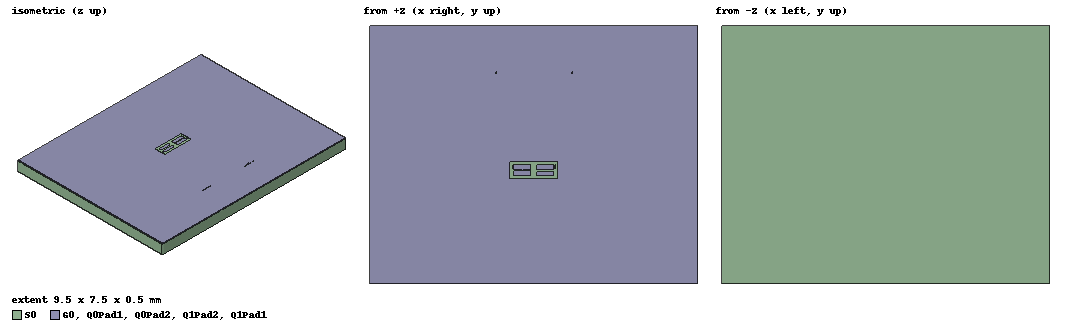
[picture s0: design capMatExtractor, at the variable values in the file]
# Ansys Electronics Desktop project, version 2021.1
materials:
  vacuum: permittivity=1
  copper: permeability=0.999991 conductivity=58000000
  silicon: permittivity=11.9
  perfect conductor: conductivity=1e+30

design capMatExtractor (Q3D Extractor, model units mm)
options: SParamCalcMethod=EqTransLine Calculate_Lossy_Dielectrics
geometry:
  S0 [silicon] = polyline(z=0um, xy in um: (-4750, -3750) (-4750, 3750) (4750, 3750) (4750, -3750) (-4750, -3750), closed, covered)
  S0.sweep_along_vector((0mm, 0mm, 500um))
  G0 [perfect conductor] = polyline(z=500um, xy in um: (-4750, -3750) (-4750, 3750) (4750, 3750) (4750, -3750) (-4750, -3750), closed, covered)
  Q0Pad1 [perfect conductor] = polyline(z=500um, xy in um: (-581, -439) (-581, -299) (-81, -299) (-81, -439) (-329, -439) (-329, -450) (-333, -450) (-333, -439) (-581, -439), closed, covered)
  Q0Pad1TrenchComponent = polyline(z=499.9um, xy in um: (-581, -439) (-581, -299) (-81, -299) (-81, -439) (-329, -439) (-329, -450) (-333, -450) (-333, -439) (-581, -439), closed, covered)
  Q0Pad1TrenchPeriphery0 = polyline(z=499.9um, xy in um: (-681, -539) (-681, -199) (19, -199) (19, -539) (-681, -539), closed, covered)
  Q0Pad1TrenchPeriphery1 = polyline(z=499.9um, xy in um: (-363, -454) (-363, -439) (-299, -439) (-299, -454) (-363, -454), closed, covered)
  Q0Pad1TrenchPeriphery0.sweep_along_vector((0mm, 0mm, 0.1um))
  S0.subtract(Q0Pad1TrenchPeriphery0)
  Q0Pad1TrenchPeriphery1.sweep_along_vector((0mm, 0mm, 0.1um))
  S0.subtract(Q0Pad1TrenchPeriphery1)
  Q0Pad1periphery0 = polyline(z=500um, xy in um: (-681, -539) (-681, -199) (19, -199) (19, -539) (-681, -539), closed, covered)
  G0.subtract(Q0Pad1periphery0)
  Q0Pad1periphery1 = polyline(z=500um, xy in um: (-363, -454) (-363, -439) (-299, -439) (-299, -454) (-363, -454), closed, covered)
  G0.subtract(Q0Pad1periphery1)
  Q0Pad2 [perfect conductor] = polyline(z=500um, xy in um: (-81, -469) (-81, -609) (-581, -609) (-581, -469) (-333, -469) (-333, -458) (-329, -458) (-329, -469) (-81, -469), closed, covered)
  Q0Pad2TrenchComponent = polyline(z=499.9um, xy in um: (-81, -469) (-81, -609) (-581, -609) (-581, -469) (-333, -469) (-333, -458) (-329, -458) (-329, -469) (-81, -469), closed, covered)
  Q0Pad2TrenchPeriphery0 = polyline(z=499.9um, xy in um: (19, -369) (19, -709) (-681, -709) (-681, -369) (19, -369), closed, covered)
  Q0Pad2TrenchPeriphery1 = polyline(z=499.9um, xy in um: (-299, -454) (-299, -469) (-363, -469) (-363, -454) (-299, -454), closed, covered)
  Q0Pad2TrenchPeriphery0.sweep_along_vector((0mm, 0mm, 0.1um))
  S0.subtract(Q0Pad2TrenchPeriphery0)
  Q0Pad2TrenchPeriphery1.sweep_along_vector((0mm, 0mm, 0.1um))
  S0.subtract(Q0Pad2TrenchPeriphery1)
  Q0Pad2periphery0 = polyline(z=500um, xy in um: (19, -369) (19, -709) (-681, -709) (-681, -369) (19, -369), closed, covered)
  G0.subtract(Q0Pad2periphery0)
  Q0Pad2periphery1 = polyline(z=500um, xy in um: (-299, -454) (-299, -469) (-363, -469) (-363, -454) (-299, -454), closed, covered)
  G0.subtract(Q0Pad2periphery1)
  Q1Pad1 [perfect conductor] = polyline(z=500um, xy in um: (81, -421) (81, -301) (581, -301) (581, -421) (333, -421) (333, -450) (329, -450) (329, -421) (81, -421), closed, covered)
  Q1Pad1TrenchComponent = polyline(z=499.9um, xy in um: (81, -421) (81, -301) (581, -301) (581, -421) (333, -421) (333, -450) (329, -450) (329, -421) (81, -421), closed, covered)
  Q1Pad1TrenchPeriphery0 = polyline(z=499.9um, xy in um: (-19, -521) (-19, -199) (681, -199) (681, -521) (-19, -521), closed, covered)
  Q1Pad1TrenchPeriphery1 = polyline(z=499.9um, xy in um: (299, -454) (299, -421) (363, -421) (363, -454) (299, -454), closed, covered)
  Q1Pad1TrenchPeriphery0.sweep_along_vector((0mm, 0mm, 0.1um))
  S0.subtract(Q1Pad1TrenchPeriphery0)
  Q1Pad1TrenchPeriphery1.sweep_along_vector((0mm, 0mm, 0.1um))
  S0.subtract(Q1Pad1TrenchPeriphery1)
  Q1Pad1periphery0 = polyline(z=500um, xy in um: (-19, -521) (-19, -199) (681, -199) (681, -521) (-19, -521), closed, covered)
  G0.subtract(Q1Pad1periphery0)
  Q1Pad1periphery1 = polyline(z=500um, xy in um: (299, -454) (299, -421) (363, -421) (363, -454) (299, -454), closed, covered)
  G0.subtract(Q1Pad1periphery1)
  Q1Pad2 [perfect conductor] = polyline(z=500um, xy in um: (581, -487) (581, -607) (81, -607) (81, -487) (329, -487) (329, -458) (333, -458) (333, -487) (581, -487), closed, covered)
  Q1Pad2TrenchComponent = polyline(z=499.9um, xy in um: (581, -487) (581, -607) (81, -607) (81, -487) (329, -487) (329, -458) (333, -458) (333, -487) (581, -487), closed, covered)
  Q1Pad2TrenchPeriphery0 = polyline(z=499.9um, xy in um: (681, -387) (681, -709) (-19, -709) (-19, -387) (681, -387), closed, covered)
  Q1Pad2TrenchPeriphery1 = polyline(z=499.9um, xy in um: (363, -454) (363, -487) (299, -487) (299, -454) (363, -454), closed, covered)
  Q1Pad2TrenchPeriphery0.sweep_along_vector((0mm, 0mm, 0.1um))
  S0.subtract(Q1Pad2TrenchPeriphery0)
  Q1Pad2TrenchPeriphery1.sweep_along_vector((0mm, 0mm, 0.1um))
  S0.subtract(Q1Pad2TrenchPeriphery1)
  Q1Pad2periphery0 = polyline(z=500um, xy in um: (681, -387) (681, -709) (-19, -709) (-19, -387) (681, -387), closed, covered)
  G0.subtract(Q1Pad2periphery0)
  Q1Pad2periphery1 = polyline(z=500um, xy in um: (363, -454) (363, -487) (299, -487) (299, -454) (363, -454), closed, covered)
  G0.subtract(Q1Pad2periphery1)
  R0Pad1 [perfect conductor] = polyline(z=500um, xy in um: (-895.54, 2406) (-895.54, 2396) (-1090.54, 2396) (-1090.54, 2371) (-1090.54, 2371) (-1090.54, 2346) (-1100.54, 2346) (-1100.54, 2371) (-1100.54, 2371) (-1100.54, 2396) (-1295.54, 2396) (-1295.54, 2406) (-895.54, 2406), closed, covered)
  R0Pad1TrenchComponent = polyline(z=499.9um, xy in um: (-895.54, 2406) (-895.54, 2396) (-1090.54, 2396) (-1090.54, 2371) (-1090.54, 2371) (-1090.54, 2346) (-1100.54, 2346) (-1100.54, 2371) (-1100.54, 2371) (-1100.54, 2396) (-1295.54, 2396) (-1295.54, 2406) (-895.54, 2406), closed, covered)
  R0Pad1TrenchPeriphery0 = polyline(z=499.9um, xy in um: (-871.54, 2412) (-871.54, 2390) (-1319.54, 2390) (-1319.54, 2412) (-871.54, 2412), closed, covered)
  R0Pad1TrenchPeriphery1 = polyline(z=499.9um, xy in um: (-1084.54, 2402) (-1084.54, 2365) (-1106.54, 2365) (-1106.54, 2402) (-1084.54, 2402), closed, covered)
  R0Pad1TrenchPeriphery2 = polyline(z=499.9um, xy in um: (-1084.54, 2372) (-1084.54, 2345) (-1106.54, 2345) (-1106.54, 2372) (-1084.54, 2372), closed, covered)
  R0Pad1TrenchPeriphery0.sweep_along_vector((0mm, 0mm, 0.1um))
  S0.subtract(R0Pad1TrenchPeriphery0)
  R0Pad1TrenchPeriphery1.sweep_along_vector((0mm, 0mm, 0.1um))
  S0.subtract(R0Pad1TrenchPeriphery1)
  R0Pad1TrenchPeriphery2.sweep_along_vector((0mm, 0mm, 0.1um))
  S0.subtract(R0Pad1TrenchPeriphery2)
  R0Pad1periphery0 = polyline(z=500um, xy in um: (-871.54, 2412) (-871.54, 2390) (-1319.54, 2390) (-1319.54, 2412) (-871.54, 2412), closed, covered)
  G0.subtract(R0Pad1periphery0)
  R0Pad1periphery1 = polyline(z=500um, xy in um: (-1084.54, 2402) (-1084.54, 2365) (-1106.54, 2365) (-1106.54, 2402) (-1084.54, 2402), closed, covered)
  G0.subtract(R0Pad1periphery1)
  R0Pad1periphery2 = polyline(z=500um, xy in um: (-1084.54, 2372) (-1084.54, 2345) (-1106.54, 2345) (-1106.54, 2372) (-1084.54, 2372), closed, covered)
  G0.subtract(R0Pad1periphery2)
  R0Pad2 [perfect conductor] = polyline(z=500um, xy in um: (-589.00475, -400.53525) (-619.00475, -400.53525) (-619.00475, -355.53525) (-644.00475, -355.53525) (-644.00475, -355.53525) (-669.00475, -355.53525) (-669.00475, -345.53525) (-644.00475, -345.53525) (-644.00475, -345.53525) (-619.00475, -345.53525) (-619.00475, -300.53525) (-589.00475, -300.53525) (-589.00475, -400.53525), closed, covered)
  R0Pad2TrenchComponent = polyline(z=499.9um, xy in um: (-589.00475, -400.53525) (-619.00475, -400.53525) (-619.00475, -355.53525) (-644.00475, -355.53525) (-644.00475, -355.53525) (-669.00475, -355.53525) (-669.00475, -345.53525) (-644.00475, -345.53525) (-644.00475, -345.53525) (-619.00475, -345.53525) (-619.00475, -300.53525) (-589.00475, -300.53525) (-589.00475, -400.53525), closed, covered)
  R0Pad2TrenchPeriphery0 = polyline(z=499.9um, xy in um: (-559.00475, -430.53525) (-649.00475, -430.53525) (-649.00475, -270.53525) (-559.00475, -270.53525) (-559.00475, -430.53525), closed, covered)
  R0Pad2TrenchPeriphery1 = polyline(z=499.9um, xy in um: (-613.00475, -361.53525) (-650.00475, -361.53525) (-650.00475, -339.53525) (-613.00475, -339.53525) (-613.00475, -361.53525), closed, covered)
  R0Pad2TrenchPeriphery2 = polyline(z=499.9um, xy in um: (-643.00475, -361.53525) (-670.00475, -361.53525) (-670.00475, -339.53525) (-643.00475, -339.53525) (-643.00475, -361.53525), closed, covered)
  R0Pad2TrenchPeriphery0.sweep_along_vector((0mm, 0mm, 0.1um))
  S0.subtract(R0Pad2TrenchPeriphery0)
  R0Pad2TrenchPeriphery1.sweep_along_vector((0mm, 0mm, 0.1um))
  S0.subtract(R0Pad2TrenchPeriphery1)
  R0Pad2TrenchPeriphery2.sweep_along_vector((0mm, 0mm, 0.1um))
  S0.subtract(R0Pad2TrenchPeriphery2)
  R0Pad2periphery0 = polyline(z=500um, xy in um: (-559.00475, -430.53525) (-649.00475, -430.53525) (-649.00475, -270.53525) (-559.00475, -270.53525) (-559.00475, -430.53525), closed, covered)
  G0.subtract(R0Pad2periphery0)
  R0Pad2periphery1 = polyline(z=500um, xy in um: (-613.00475, -361.53525) (-650.00475, -361.53525) (-650.00475, -339.53525) (-613.00475, -339.53525) (-613.00475, -361.53525), closed, covered)
  G0.subtract(R0Pad2periphery1)
  R0Pad2periphery2 = polyline(z=500um, xy in um: (-643.00475, -361.53525) (-670.00475, -361.53525) (-670.00475, -339.53525) (-643.00475, -339.53525) (-643.00475, -361.53525), closed, covered)
  G0.subtract(R0Pad2periphery2)
  R1Pad1 [perfect conductor] = polyline(z=500um, xy in um: (1316, 2406) (1316, 2396) (1121, 2396) (1121, 2371) (1121, 2371) (1121, 2346) (1111, 2346) (1111, 2371) (1111, 2371) (1111, 2396) (916, 2396) (916, 2406) (1316, 2406), closed, covered)
  R1Pad1TrenchComponent = polyline(z=499.9um, xy in um: (1316, 2406) (1316, 2396) (1121, 2396) (1121, 2371) (1121, 2371) (1121, 2346) (1111, 2346) (1111, 2371) (1111, 2371) (1111, 2396) (916, 2396) (916, 2406) (1316, 2406), closed, covered)
  R1Pad1TrenchPeriphery0 = polyline(z=499.9um, xy in um: (1340, 2412) (1340, 2390) (892, 2390) (892, 2412) (1340, 2412), closed, covered)
  R1Pad1TrenchPeriphery1 = polyline(z=499.9um, xy in um: (1127, 2402) (1127, 2365) (1105, 2365) (1105, 2402) (1127, 2402), closed, covered)
  R1Pad1TrenchPeriphery2 = polyline(z=499.9um, xy in um: (1127, 2372) (1127, 2345) (1105, 2345) (1105, 2372) (1127, 2372), closed, covered)
  R1Pad1TrenchPeriphery0.sweep_along_vector((0mm, 0mm, 0.1um))
  S0.subtract(R1Pad1TrenchPeriphery0)
  R1Pad1TrenchPeriphery1.sweep_along_vector((0mm, 0mm, 0.1um))
  S0.subtract(R1Pad1TrenchPeriphery1)
  R1Pad1TrenchPeriphery2.sweep_along_vector((0mm, 0mm, 0.1um))
  S0.subtract(R1Pad1TrenchPeriphery2)
  R1Pad1periphery0 = polyline(z=500um, xy in um: (1340, 2412) (1340, 2390) (892, 2390) (892, 2412) (1340, 2412), closed, covered)
  G0.subtract(R1Pad1periphery0)
  R1Pad1periphery1 = polyline(z=500um, xy in um: (1127, 2402) (1127, 2365) (1105, 2365) (1105, 2402) (1127, 2402), closed, covered)
  G0.subtract(R1Pad1periphery1)
  R1Pad1periphery2 = polyline(z=500um, xy in um: (1127, 2372) (1127, 2345) (1105, 2345) (1105, 2372) (1127, 2372), closed, covered)
  G0.subtract(R1Pad1periphery2)
  R1Pad2 [perfect conductor] = polyline(z=500um, xy in um: (609.14644, -301.35356) (639.14644, -301.35356) (639.14644, -346.35356) (664.14644, -346.35356) (664.14644, -346.35356) (689.14644, -346.35356) (689.14644, -356.35356) (664.14644, -356.35356) (664.14644, -356.35356) (639.14644, -356.35356) (639.14644, -401.35356) (609.14644, -401.35356) (609.14644, -301.35356), closed, covered)
  R1Pad2TrenchComponent = polyline(z=499.9um, xy in um: (609.14644, -301.35356) (639.14644, -301.35356) (639.14644, -346.35356) (664.14644, -346.35356) (664.14644, -346.35356) (689.14644, -346.35356) (689.14644, -356.35356) (664.14644, -356.35356) (664.14644, -356.35356) (639.14644, -356.35356) (639.14644, -401.35356) (609.14644, -401.35356) (609.14644, -301.35356), closed, covered)
  R1Pad2TrenchPeriphery0 = polyline(z=499.9um, xy in um: (579.14644, -271.35356) (669.14644, -271.35356) (669.14644, -431.35356) (579.14644, -431.35356) (579.14644, -271.35356), closed, covered)
  R1Pad2TrenchPeriphery1 = polyline(z=499.9um, xy in um: (633.14644, -340.35356) (670.14644, -340.35356) (670.14644, -362.35356) (633.14644, -362.35356) (633.14644, -340.35356), closed, covered)
  R1Pad2TrenchPeriphery2 = polyline(z=499.9um, xy in um: (663.14644, -340.35356) (690.14644, -340.35356) (690.14644, -362.35356) (663.14644, -362.35356) (663.14644, -340.35356), closed, covered)
  R1Pad2TrenchPeriphery0.sweep_along_vector((0mm, 0mm, 0.1um))
  S0.subtract(R1Pad2TrenchPeriphery0)
  R1Pad2TrenchPeriphery1.sweep_along_vector((0mm, 0mm, 0.1um))
  S0.subtract(R1Pad2TrenchPeriphery1)
  R1Pad2TrenchPeriphery2.sweep_along_vector((0mm, 0mm, 0.1um))
  S0.subtract(R1Pad2TrenchPeriphery2)
  R1Pad2periphery0 = polyline(z=500um, xy in um: (579.14644, -271.35356) (669.14644, -271.35356) (669.14644, -431.35356) (579.14644, -431.35356) (579.14644, -271.35356), closed, covered)
  G0.subtract(R1Pad2periphery0)
  R1Pad2periphery1 = polyline(z=500um, xy in um: (633.14644, -340.35356) (670.14644, -340.35356) (670.14644, -362.35356) (633.14644, -362.35356) (633.14644, -340.35356), closed, covered)
  G0.subtract(R1Pad2periphery1)
  R1Pad2periphery2 = polyline(z=500um, xy in um: (663.14644, -340.35356) (690.14644, -340.35356) (690.14644, -362.35356) (663.14644, -362.35356) (663.14644, -340.35356), closed, covered)
  G0.subtract(R1Pad2periphery2)
  Q0Pad1TrenchComponent.sweep_along_vector((0mm, 0mm, 0.1um))
  S0.unite(Q0Pad1TrenchComponent)
  Q0Pad2TrenchComponent.sweep_along_vector((0mm, 0mm, 0.1um))
  S0.unite(Q0Pad2TrenchComponent)
  Q1Pad1TrenchComponent.sweep_along_vector((0mm, 0mm, 0.1um))
  S0.unite(Q1Pad1TrenchComponent)
  Q1Pad2TrenchComponent.sweep_along_vector((0mm, 0mm, 0.1um))
  S0.unite(Q1Pad2TrenchComponent)
  R0Pad1TrenchComponent.sweep_along_vector((0mm, 0mm, 0.1um))
  S0.unite(R0Pad1TrenchComponent)
  R0Pad2TrenchComponent.sweep_along_vector((0mm, 0mm, 0.1um))
  S0.unite(R0Pad2TrenchComponent)
  R1Pad1TrenchComponent.sweep_along_vector((0mm, 0mm, 0.1um))
  S0.unite(R1Pad1TrenchComponent)
  R1Pad2TrenchComponent.sweep_along_vector((0mm, 0mm, 0.1um))
  S0.unite(R1Pad2TrenchComponent)
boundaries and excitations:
  ThinCondQ0Pad1: ThinConductor Objects=Q0Pad1 Material="perfect conductor" Thickness=0.1um
  Q0Pad1: SignalNet Objects=Q0Pad1
  ThinCondQ0Pad2: ThinConductor Objects=Q0Pad2 Material="perfect conductor" Thickness=0.1um
  Q0Pad2: SignalNet Objects=Q0Pad2
  ThinCondQ1Pad1: ThinConductor Objects=Q1Pad1 Material="perfect conductor" Thickness=0.1um
  Q1Pad1: SignalNet Objects=Q1Pad1
  ThinCondQ1Pad2: ThinConductor Objects=Q1Pad2 Material="perfect conductor" Thickness=0.1um
  Q1Pad2: SignalNet Objects=Q1Pad2
  ThinCondR0Pad1: ThinConductor Objects=R0Pad1 Material="perfect conductor" Thickness=0.1um
  R0Pad1: SignalNet Objects=R0Pad1
  ThinCondR0Pad2: ThinConductor Objects=R0Pad2 Material="perfect conductor" Thickness=0.1um
  R0Pad2: SignalNet Objects=R0Pad2
  ThinCondR1Pad1: ThinConductor Objects=R1Pad1 Material="perfect conductor" Thickness=0.1um
  R1Pad1: SignalNet Objects=R1Pad1
  ThinCondR1Pad2: ThinConductor Objects=R1Pad2 Material="perfect conductor" Thickness=0.1um
  R1Pad2: SignalNet Objects=R1Pad2
  ThinCondG0: ThinConductor Objects=G0 Material="perfect conductor" Thickness=0.1um
  GroundNet1: GroundNet Objects=G0
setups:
  capSim: Matrix AdaptiveFreq=5GHz Cap{MaxPass=99 MinPass=1 MinConvPass=1 PerError=1 PerRefine=100 AutoIncreaseSolutionOrder SolutionOrder=High Solver_Type=Iterative}
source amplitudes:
  Q0Pad1: Cap 1V 0deg
  Q0Pad2, Q1Pad1, Q1Pad2, R0Pad1, R0Pad2, R1Pad1, R1Pad2: Cap 0V 0deg
